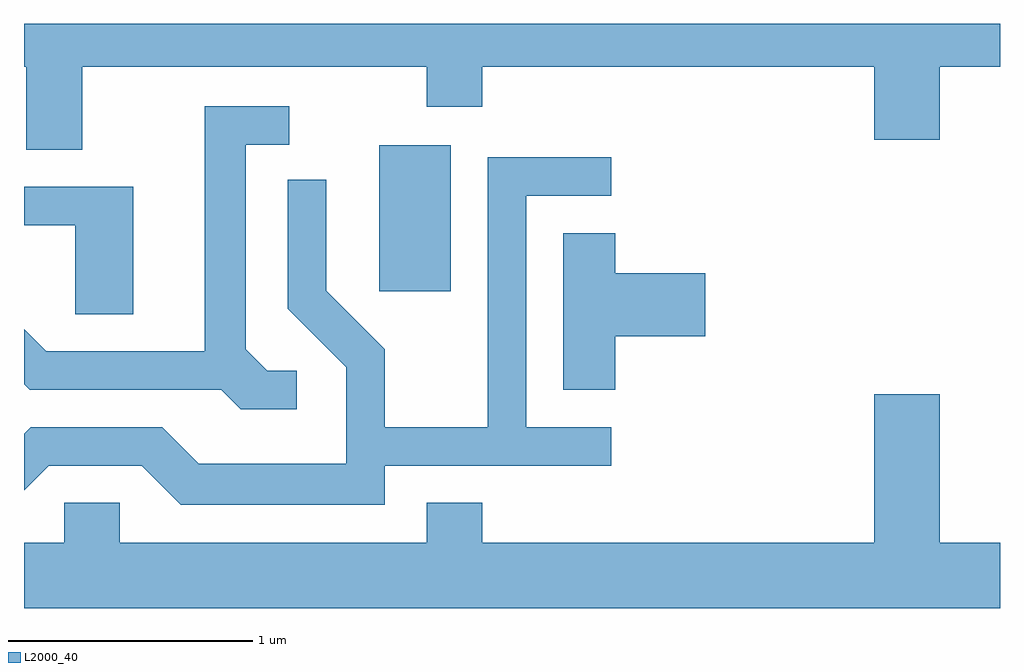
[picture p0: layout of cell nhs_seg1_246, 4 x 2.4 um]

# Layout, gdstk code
import gdstk
lib = gdstk.Library(unit=1e-6, precision=1e-09)
def R(c, l, rs):  # rectangles x0, y0, x1, y1
    for r in rs: c.add(gdstk.rectangle(r[:2], r[2:], *l))
def P(c, l, *ps):  # polygons
    for p in ps: c.add(gdstk.Polygon(p, *l))
L2000_40 = (2000, 40)

nhs_seg1_246 = lib.new_cell('nhs_seg1_246')
R(nhs_seg1_246, L2000_40, [(193.066,938.616,193.359,939.214)])
P(nhs_seg1_246, L2000_40, [(191.849,939.536),(193.261,939.536),(193.261,939.371),(193.489,939.371),(193.489,939.536),(195.096,939.536),(195.096,939.236),(195.364,939.236),(195.364,939.536),(195.611,939.536),(195.611,939.712),(191.611,939.712),(191.611,939.536),(191.621,939.536),(191.621,939.196),(191.849,939.196)],
  [(192.728,938.289),(192.607,938.289),(192.519,938.377),(192.519,939.216),(192.698,939.216),(192.698,939.374),(192.351,939.374),(192.351,938.369),(191.702,938.369),(191.611,938.46),(191.611,938.234),(191.634,938.211),(192.419,938.211),(192.499,938.131),(192.728,938.131)],
  [(193.089,937.901),(194.018,937.901),(194.018,938.059),(193.669,938.059),(193.669,939.006),(194.018,939.006),(194.018,939.164),(193.511,939.164),(193.511,938.059),(193.089,938.059),(193.089,938.377),(192.849,938.617),(192.849,939.073),(192.691,939.073),(192.691,938.544),(192.931,938.304),(192.931,937.909),(192.327,937.909),(192.177,938.059),(191.639,938.059),(191.611,938.031),(191.611,937.8),(191.712,937.901),(192.094,937.901),(192.254,937.741),(193.089,937.741)],
  [(192.059,939.044),(191.611,939.044),(191.611,938.886),(191.821,938.886),(191.821,938.521),(192.059,938.521)],
  [(194.034,938.431),(194.404,938.431),(194.404,938.689),(194.034,938.689),(194.034,938.854),(193.821,938.854),(193.821,938.211),(194.034,938.211)],
  [(195.611,937.584),(195.364,937.584),(195.364,938.194),(195.096,938.194),(195.096,937.584),(193.489,937.584),(193.489,937.749),(193.261,937.749),(193.261,937.584),(192.004,937.584),(192.004,937.749),(191.776,937.749),(191.776,937.584),(191.611,937.584),(191.611,937.316),(195.611,937.316)])

lib.write_gds('nhs_seg1_246.gds')
